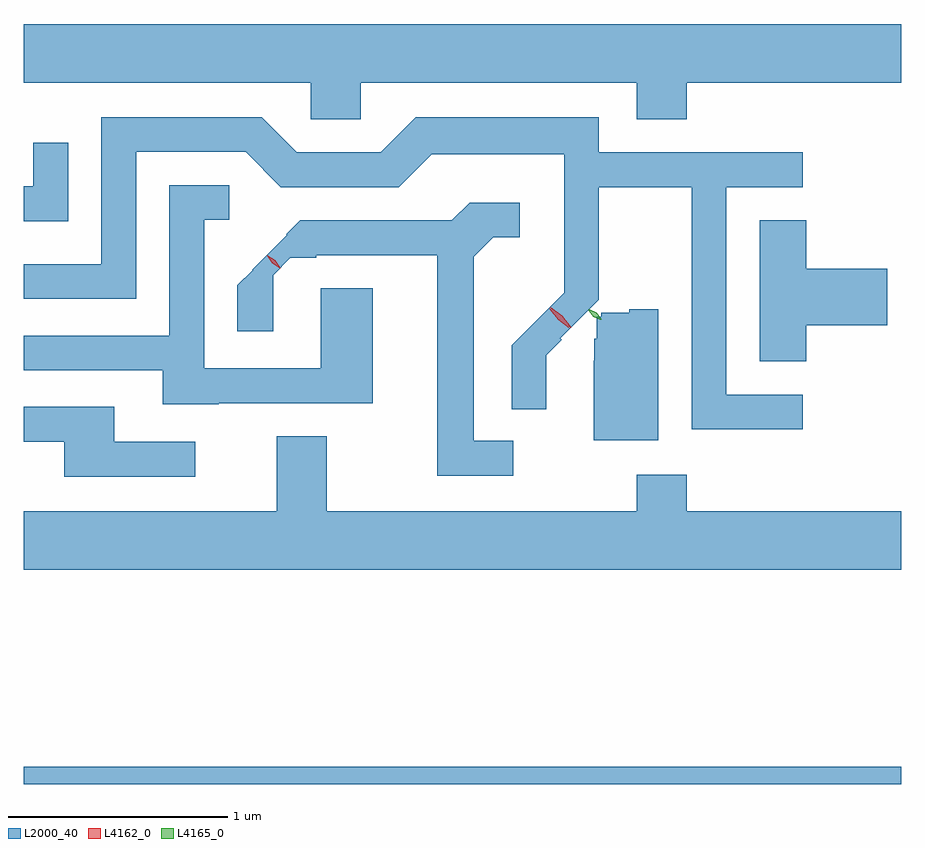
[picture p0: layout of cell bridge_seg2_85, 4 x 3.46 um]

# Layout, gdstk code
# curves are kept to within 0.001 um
import gdstk
lib = gdstk.Library(unit=1e-6, precision=1e-09)
def R(c, l, rs):  # rectangles x0, y0, x1, y1
    for r in rs: c.add(gdstk.rectangle(r[:2], r[2:], *l))
def P(c, l, *ps):  # polygons
    for p in ps: c.add(gdstk.Polygon(p, *l))
L2000_40 = (2000, 40)
L4162_0 = (4162, 0)
L4165_0 = (4165, 0)

bridge_seg2_85 = lib.new_cell('bridge_seg2_85')
R(bridge_seg2_85, L2000_40, [(1223.137,1009.6,1227.137,1009.679)])
P(bridge_seg2_85, L2000_40, [(1224.674,1012.796),(1225.931,1012.796),(1225.931,1012.631),(1226.159,1012.631),(1226.159,1012.796),(1227.137,1012.796),(1227.137,1013.064),(1223.137,1013.064),(1223.137,1012.796),(1224.446,1012.796),(1224.446,1012.631),(1224.674,1012.631)],
  [(1226.688,1011.374),(1226.339,1011.374),(1226.339,1012.321),(1226.688,1012.321),(1226.688,1012.479),(1225.759,1012.479),(1225.759,1012.639),(1224.924,1012.639),(1224.764,1012.479),(1224.382,1012.479),(1224.222,1012.639),(1223.491,1012.639),(1223.491,1011.969),(1223.137,1011.969),(1223.137,1011.811),(1223.649,1011.811),(1223.649,1012.481),(1224.149,1012.481),(1224.309,1012.321),(1224.847,1012.321),(1224.997,1012.471),(1225.601,1012.471),(1225.601,1011.84),(1225.361,1011.6),(1225.361,1011.308),(1225.519,1011.308),(1225.519,1011.555),(1225.589,1011.624),(1225.582,1011.631),(1225.758,1011.808),(1225.759,1012.321),(1226.181,1012.321),(1226.181,1011.216),(1226.688,1011.216)],
  [(1223.339,1012.523),(1223.181,1012.523),(1223.181,1012.324),(1223.137,1012.324),(1223.137,1012.166),(1223.339,1012.166)],
  [(1224.025,1011.336),(1224.729,1011.336),(1224.729,1011.859),(1224.491,1011.859),(1224.491,1011.494),(1223.959,1011.494),(1223.959,1012.171),(1224.073,1012.171),(1224.073,1012.329),(1223.801,1012.329),(1223.801,1011.644),(1223.137,1011.644),(1223.137,1011.486),(1223.771,1011.486),(1223.771,1011.331),(1224.025,1011.331)],
  [(1225.368,1011.164),(1225.189,1011.164),(1225.189,1012.004),(1225.277,1012.091),(1225.398,1012.091),(1225.398,1012.249),(1225.169,1012.249),(1225.089,1012.169),(1224.397,1012.169),(1224.333,1012.105),(1224.336,1012.102),(1224.178,1011.945),(1224.181,1011.942),(1224.111,1011.873),(1224.111,1011.663),(1224.274,1011.663),(1224.274,1011.919),(1224.353,1011.998),(1224.47,1011.998),(1224.47,1012.011),(1225.021,1012.011),(1225.021,1011.006),(1225.368,1011.006)],
  [(1226.704,1011.691),(1227.074,1011.691),(1227.074,1011.949),(1226.704,1011.949),(1226.704,1012.169),(1226.491,1012.169),(1226.491,1011.526),(1226.704,1011.526)],
  [(1226.029,1011.764),(1225.898,1011.764),(1225.898,1011.748),(1225.77,1011.748),(1225.77,1011.73),(1225.75,1011.73),(1225.75,1011.63),(1225.737,1011.63),(1225.737,1011.53),(1225.736,1011.53),(1225.736,1011.166),(1226.029,1011.166)],
  [(1223.918,1011.159),(1223.549,1011.159),(1223.549,1011.319),(1223.137,1011.319),(1223.137,1011.161),(1223.321,1011.161),(1223.321,1011.001),(1223.918,1011.001)],
  [(1227.137,1010.844),(1226.159,1010.844),(1226.159,1011.009),(1225.931,1011.009),(1225.931,1010.844),(1224.519,1010.844),(1224.519,1011.184),(1224.291,1011.184),(1224.291,1010.844),(1223.137,1010.844),(1223.137,1010.576),(1227.137,1010.576)])
P(bridge_seg2_85, L4162_0, [(1224.305,1011.951),(1224.269,1011.973),(1224.246,1012.008),(1224.246,1012.009),(1224.247,1012.009),(1224.283,1011.987),(1224.306,1011.952),(1224.306,1011.951)],
  [(1225.631,1011.68),(1225.578,1011.72),(1225.538,1011.773),(1225.538,1011.774),(1225.539,1011.774),(1225.592,1011.734),(1225.632,1011.681),(1225.632,1011.68)],
  [(1225.623,1011.677),(1225.573,1011.715),(1225.535,1011.765),(1225.535,1011.766),(1225.536,1011.766),(1225.587,1011.729),(1225.624,1011.678),(1225.624,1011.677)],
  [(1224.302,1011.957),(1224.27,1011.974),(1224.252,1012.005),(1224.252,1012.006),(1224.253,1012.006),(1224.284,1011.988),(1224.302,1011.958),(1224.302,1011.957)])
P(bridge_seg2_85, L4165_0, [(1225.765,1011.715),(1225.733,1011.729),(1225.713,1011.758),(1225.713,1011.759),(1225.714,1011.759),(1225.746,1011.744),(1225.766,1011.715),(1225.766,1011.715)],
  [(1225.771,1011.716),(1225.736,1011.731),(1225.713,1011.762),(1225.713,1011.763),(1225.714,1011.763),(1225.749,1011.747),(1225.772,1011.716),(1225.772,1011.716)])

lib.write_gds('bridge_seg2_85.gds')
